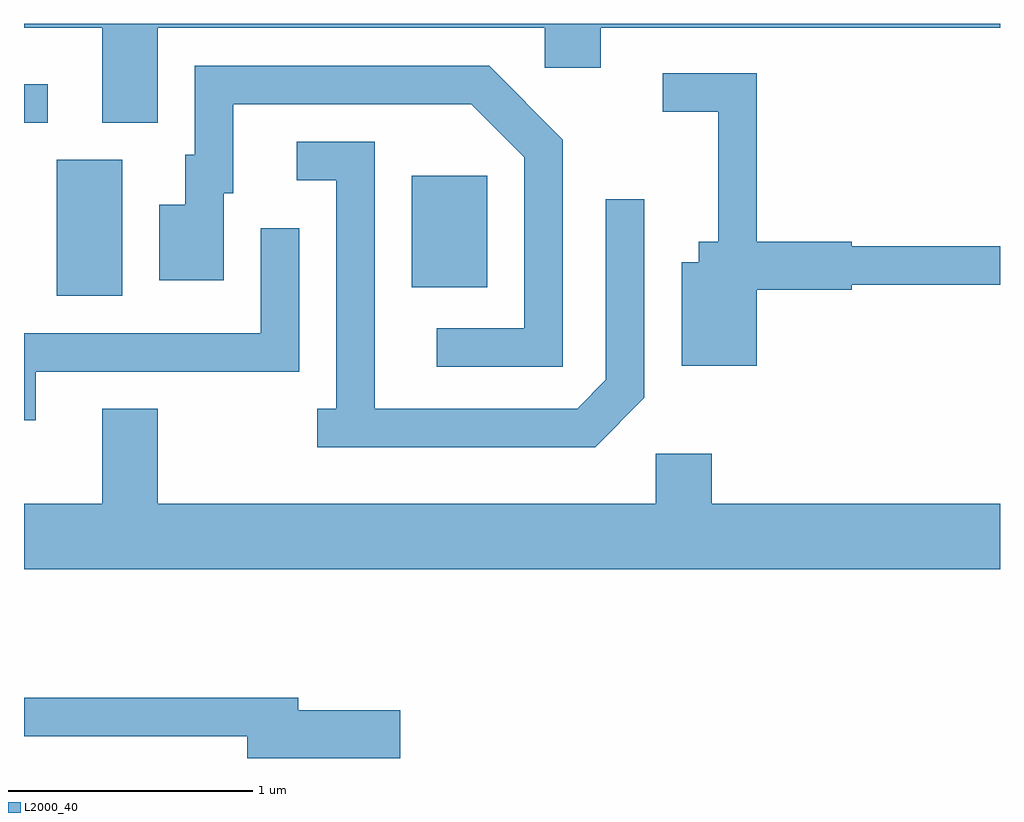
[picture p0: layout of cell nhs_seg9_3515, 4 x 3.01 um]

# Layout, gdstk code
import gdstk
lib = gdstk.Library(unit=1e-6, precision=1e-09)
def R(c, l, rs):  # rectangles x0, y0, x1, y1
    for r in rs: c.add(gdstk.rectangle(r[:2], r[2:], *l))
def P(c, l, *ps):  # polygons
    for p in ps: c.add(gdstk.Polygon(p, *l))
L2000_40 = (2000, 40)

nhs_seg9_3515 = lib.new_cell('nhs_seg9_3515')
R(nhs_seg9_3515, L2000_40, [(287.746,2057.316,288.014,2057.874), (289.201,2057.351,289.509,2057.809), (287.611,2058.026,287.708,2058.184)])
P(nhs_seg9_3515, L2000_40, [(288.159,2058.416),(289.746,2058.416),(289.746,2058.251),(289.974,2058.251),(289.974,2058.416),(291.611,2058.416),(291.611,2058.432),(287.611,2058.432),(287.611,2058.416),(287.931,2058.416),(287.931,2058.026),(288.159,2058.026)],
  [(289.819,2057.957),(289.517,2058.259),(288.311,2058.259),(288.311,2057.894),(288.271,2057.894),(288.271,2057.689),(288.166,2057.689),(288.166,2057.381),(288.429,2057.381),(288.429,2057.736),(288.469,2057.736),(288.469,2058.101),(289.444,2058.101),(289.661,2057.884),(289.661,2057.184),(289.303,2057.184),(289.303,2057.026),(289.819,2057.026)],
  [(290.614,2057.341),(291.004,2057.341),(291.004,2057.361),(291.611,2057.361),(291.611,2057.519),(291.004,2057.519),(291.004,2057.539),(290.614,2057.539),(290.614,2058.229),(290.228,2058.229),(290.228,2058.071),(290.456,2058.071),(290.456,2057.539),(290.376,2057.539),(290.376,2057.454),(290.306,2057.454),(290.306,2057.031),(290.614,2057.031)],
  [(290.154,2056.899),(290.154,2057.713),(289.996,2057.713),(289.996,2056.972),(289.879,2056.854),(289.049,2056.854),(289.049,2057.949),(288.728,2057.949),(288.728,2057.791),(288.891,2057.791),(288.891,2056.854),(288.813,2056.854),(288.813,2056.696),(289.952,2056.696)],
  [(287.659,2057.006),(288.739,2057.006),(288.739,2057.593),(288.581,2057.593),(288.581,2057.164),(287.611,2057.164),(287.611,2056.806),(287.659,2056.806)],
  [(291.611,2056.464),(290.429,2056.464),(290.429,2056.669),(290.201,2056.669),(290.201,2056.464),(288.159,2056.464),(288.159,2056.854),(287.931,2056.854),(287.931,2056.464),(287.611,2056.464),(287.611,2056.196),(291.611,2056.196)],
  [(289.154,2055.619),(288.734,2055.619),(288.734,2055.669),(287.611,2055.669),(287.611,2055.511),(288.526,2055.511),(288.526,2055.421),(289.154,2055.421)])

lib.write_gds('nhs_seg9_3515.gds')
